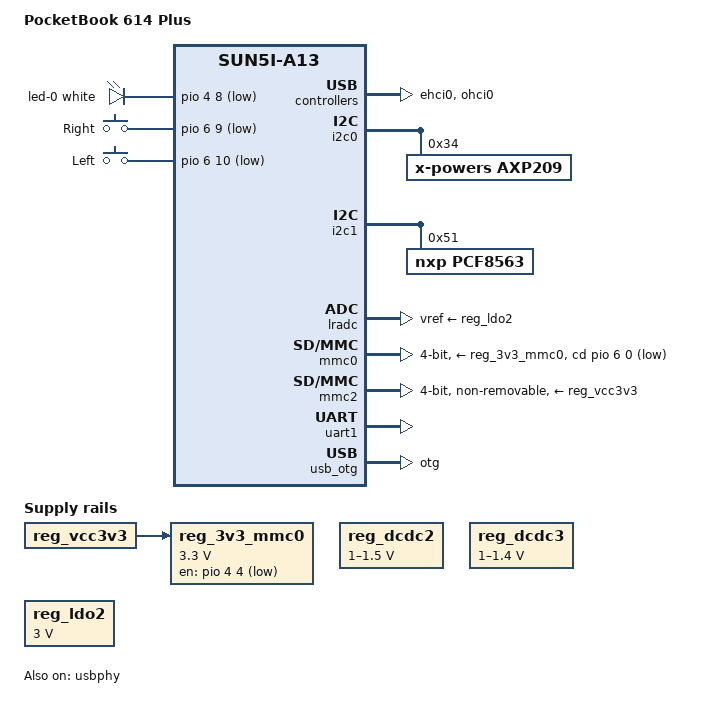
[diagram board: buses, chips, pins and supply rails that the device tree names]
// SPDX-License-Identifier: GPL-2.0+
/*
 * Copyright 2024 Denis Burkov <hitechshell@mail.ru>
 */

/dts-v1/;
#include "sun5i-a13.dtsi"
#include "sunxi-common-regulators.dtsi"

#include <dt-bindings/gpio/gpio.h>
#include <dt-bindings/input/input.h>
#include <dt-bindings/interrupt-controller/irq.h>
#include <dt-bindings/leds/common.h>

/ {
	model = "PocketBook 614 Plus";
	compatible = "pocketbook,614-plus", "allwinner,sun5i-a13";

	aliases {
		serial0 = &uart1;
	};

	chosen {
		stdout-path = "serial0:115200n8";
	};

	leds {
		compatible = "gpio-leds";

		led-0 {
			color = <LED_COLOR_ID_WHITE>;
			function = LED_FUNCTION_POWER;
			linux,default-trigger = "default-on";
			gpios = <&pio 4 8 GPIO_ACTIVE_LOW>; /* PE8 */
		};
	};

	gpio-keys {
		compatible = "gpio-keys";

		key-0 {
			label = "Right";
			linux,code = <KEY_NEXT>;
			gpios = <&pio 6 9 GPIO_ACTIVE_LOW>; /* PG9 */
		};

		key-1 {
			label = "Left";
			linux,code = <KEY_PREVIOUS>;
			gpios = <&pio 6 10 GPIO_ACTIVE_LOW>; /* PG10 */
		};
	};

	reg_3v3_mmc0: regulator-mmc0 {
		compatible = "regulator-fixed";
		regulator-name = "vdd-mmc0";
		regulator-min-microvolt = <3300000>;
		regulator-max-microvolt = <3300000>;
		gpio = <&pio 4 4 GPIO_ACTIVE_LOW>; /* PE4 */
		vin-supply = <&reg_vcc3v3>;
	};
};

&cpu0 {
	cpu-supply = <&reg_dcdc2>;
};

&ehci0 {
	status = "okay";
};

&i2c0 {
	status = "okay";

	axp209: pmic@34 {
		compatible = "x-powers,axp209";
		reg = <0x34>;
		interrupts = <0>;
	};
};

#include "axp209.dtsi"

&i2c1 {
	status = "okay";

	pcf8563: rtc@51 {
		compatible = "nxp,pcf8563";
		reg = <0x51>;
		#clock-cells = <0>;
	};
};

&lradc {
	vref-supply = <&reg_ldo2>;
	status = "okay";

	button-300 {
		label = "Down";
		linux,code = <KEY_DOWN>;
		channel = <0>;
		voltage = <300000>;
	};

	button-700 {
		label = "Up";
		linux,code = <KEY_UP>;
		channel = <0>;
		voltage = <700000>;
	};

	button-1000 {
		label = "Left";
		linux,code = <KEY_LEFT>;
		channel = <0>;
		voltage = <1000000>;
	};

	button-1200 {
		label = "Menu";
		linux,code = <KEY_MENU>;
		channel = <0>;
		voltage = <1200000>;
	};

	button-1500 {
		label = "Right";
		linux,code = <KEY_RIGHT>;
		channel = <0>;
		voltage = <1500000>;
	};
};

&mmc0 {
	vmmc-supply = <&reg_3v3_mmc0>;
	bus-width = <4>;
	cd-gpios = <&pio 6 0 GPIO_ACTIVE_LOW>; /* PG0 */
	status = "okay";
};

&mmc2 {
	pinctrl-names = "default";
	pinctrl-0 = <&mmc2_4bit_pc_pins>;
	vmmc-supply = <&reg_vcc3v3>;
	bus-width = <4>;
	non-removable;
	status = "okay";
};

&ohci0 {
	status = "okay";
};

&otg_sram {
	status = "okay";
};

&reg_dcdc2 {
	regulator-always-on;
	regulator-min-microvolt = <1000000>;
	regulator-max-microvolt = <1500000>;
	regulator-name = "vdd-cpu";
};

&reg_dcdc3 {
	regulator-always-on;
	regulator-min-microvolt = <1000000>;
	regulator-max-microvolt = <1400000>;
	regulator-name = "vdd-int-dll";
};

&reg_ldo1 {
	regulator-name = "vdd-rtc";
};

&reg_ldo2 {
	regulator-always-on;
	regulator-min-microvolt = <3000000>;
	regulator-max-microvolt = <3000000>;
	regulator-name = "avcc";
};

&reg_usb0_vbus {
	status = "okay";
	gpio = <&pio 6 12 GPIO_ACTIVE_HIGH>; /* PG12 */
};

&reg_usb1_vbus {
	gpio = <&pio 6 11 GPIO_ACTIVE_HIGH>; /* PG11 */
	status = "okay";
};

&uart1 {
	pinctrl-names = "default";
	pinctrl-0 = <&uart1_pg_pins>;
	status = "okay";
};

&usb_otg {
	dr_mode = "otg";
	status = "okay";
};

&usb_power_supply {
	status = "okay";
};

&battery_power_supply {
	status = "okay";
};

&usbphy {
	usb0_id_det-gpios = <&pio 6 2 GPIO_ACTIVE_HIGH>; /* PG2 */
	usb0_vbus_det-gpios = <&axp_gpio 1 GPIO_ACTIVE_HIGH>;
	usb0_vbus-supply = <&reg_usb0_vbus>;
	usb1_vbus-supply = <&reg_usb1_vbus>;
	status = "okay";
};
